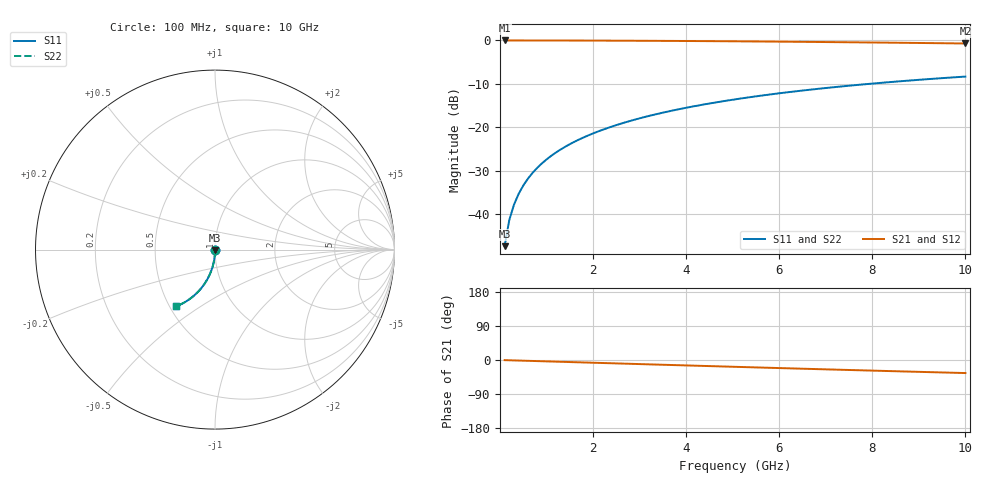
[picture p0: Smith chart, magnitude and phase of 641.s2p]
# Hz S RI R 50.00
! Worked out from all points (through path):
!   100 points, 100 MHz to 10 GHz, reference 50 ohm
!   highest |S21| = 0.00 dB at 100 MHz (marker M1); lowest = -0.7 dB at 10 GHz (marker M2)
!   group delay of S21, straight-line fit = 9.6 ps
!   lowest |S11| = -47.4 dB at 100 MHz (marker M3), VSWR 1.01, Z = 50 - j0.427 ohm
!   |S11| at or under -10 dB: start of sweep to 7.934 GHz
!   |S22| runs from -47.4 to -8.3 dB; largest |S21 - S12| = 0
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1e8  0.000301 -0.00427  0.9996 -0.00628  0.9996 -0.00628  0.000301 -0.00427
2e8  0.000218 -0.00853  0.9995 -0.0126  0.9995 -0.0126  0.000218 -0.00853
3e8  8.01e-05 -0.0128  0.9994 -0.0189  0.9994 -0.0189  8.01e-05 -0.0128
4e8  -0.000111 -0.0171  0.9992 -0.0251  0.9992 -0.0251  -0.000111 -0.0171
5e8  -0.000356 -0.0213  0.9989 -0.0314  0.9989 -0.0314  -0.000356 -0.0213
6e8  -0.000655 -0.0256  0.9986 -0.0377  0.9986 -0.0377  -0.000655 -0.0256
7e8  -0.00101 -0.0298  0.9982 -0.044  0.9982 -0.044  -0.00101 -0.0298
8e8  -0.00141 -0.0341  0.9978 -0.0502  0.9978 -0.0502  -0.00141 -0.0341
9e8  -0.00187 -0.0383  0.9973 -0.0565  0.9973 -0.0565  -0.00187 -0.0383
1.1e9  -0.00295 -0.0468  0.9961 -0.069  0.9961 -0.069  -0.00295 -0.0468
1.4e9  -0.00496 -0.0594  0.9939 -0.0877  0.9939 -0.0877  -0.00496 -0.0594
1.8e9  -0.00838 -0.0761  0.9903 -0.1124  0.9903 -0.1124  -0.00838 -0.0761
2.1e9  -0.0115 -0.0884  0.9869 -0.1309  0.9869 -0.1309  -0.0115 -0.0884
2.5e9  -0.0163 -0.1047  0.9817 -0.1552  0.9817 -0.1552  -0.0163 -0.1047
2.9e9  -0.022 -0.1206  0.9756 -0.1793  0.9756 -0.1793  -0.022 -0.1206
3.4e9  -0.0301 -0.1401  0.9668 -0.2089  0.9668 -0.2089  -0.0301 -0.1401
4.2e9  -0.0454 -0.1699  0.9502 -0.255  0.9502 -0.255  -0.0454 -0.1699
5.1e9  -0.0659 -0.2011  0.928 -0.3046  0.928 -0.3046  -0.0659 -0.2011
5.9e9  -0.0865 -0.2264  0.9055 -0.3464  0.9055 -0.3464  -0.0865 -0.2264
6.7e9  -0.1092 -0.2494  0.8807 -0.3859  0.8807 -0.3859  -0.1092 -0.2494
8.4e9  -0.1626 -0.2896  0.8217 -0.4614  0.8217 -0.4614  -0.1626 -0.2896
1e10  -0.217 -0.3163  0.7609 -0.5218  0.7609 -0.5218  -0.217 -0.3163
